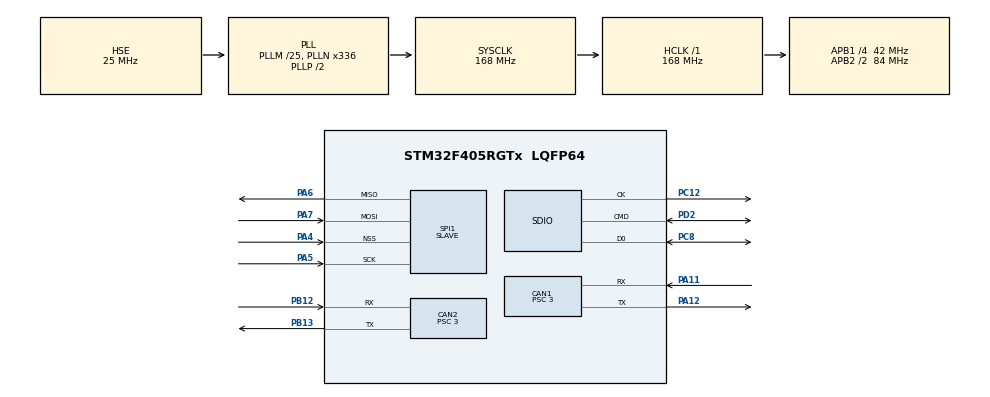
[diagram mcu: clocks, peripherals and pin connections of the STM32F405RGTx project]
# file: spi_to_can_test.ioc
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CAN1.AWUM=DISABLE
CAN1.BS1=CAN_BS1_10TQ
CAN1.BS2=CAN_BS2_3TQ
CAN1.CalculateBaudRate=1000000
CAN1.CalculateTimeBit=1000
CAN1.CalculateTimeQuantum=71.42857142857143
CAN1.NART=DISABLE
CAN1.Prescaler=3
CAN2.AWUM=DISABLE
CAN2.BS1=CAN_BS1_10TQ
CAN2.BS2=CAN_BS2_3TQ
CAN2.CalculateBaudRate=1000000
CAN2.CalculateTimeBit=1000
CAN2.CalculateTimeQuantum=71.42857142857143
CAN2.NART=DISABLE
CAN2.Prescaler=3
Dma.Request0=SPI1_RX
Dma.SPI1_RX.0.Direction=DMA_PERIPH_TO_MEMORY
Dma.SPI1_RX.0.FIFOMode=DMA_FIFOMODE_DISABLE
Dma.SPI1_RX.0.Instance=DMA2_Stream0
Dma.SPI1_RX.0.MemDataAlignment=DMA_MDATAALIGN_BYTE
Dma.SPI1_RX.0.MemInc=DMA_MINC_ENABLE
Dma.SPI1_RX.0.Mode=DMA_NORMAL
Dma.SPI1_RX.0.PeriphDataAlignment=DMA_PDATAALIGN_BYTE
Dma.SPI1_RX.0.PeriphInc=DMA_PINC_DISABLE
Dma.SPI1_RX.0.Priority=DMA_PRIORITY_LOW
Mcu.Family=STM32F4
Mcu.Name=STM32F405RGTx
Mcu.Package=LQFP64
NVIC.CAN1_RX0_IRQn=true\:0\:0\:false\:false\:true\:true\:true\:true
NVIC.CAN1_RX1_IRQn=true\:0\:0\:false\:false\:true\:true\:true\:true
NVIC.CAN2_RX0_IRQn=true\:0\:0\:false\:false\:true\:true\:true\:true
NVIC.CAN2_RX1_IRQn=true\:0\:0\:false\:false\:true\:true\:true\:true
NVIC.DMA2_Stream0_IRQn=true\:0\:0\:false\:false\:true\:false\:true\:true
NVIC.PriorityGroup=NVIC_PRIORITYGROUP_4
NVIC.SPI1_IRQn=true\:0\:0\:false\:false\:true\:true\:true\:true
PA11.Mode=CAN_Activate
PA11.Signal=CAN1_RX
PA12.Mode=CAN_Activate
PA12.Signal=CAN1_TX
PA4.Mode=NSS_Signal_Hard_Input
PA4.Signal=SPI1_NSS
PA5.Mode=Full_Duplex_Slave
PA5.Signal=SPI1_SCK
PA6.Mode=Full_Duplex_Slave
PA6.Signal=SPI1_MISO
PA7.Mode=Full_Duplex_Slave
PA7.Signal=SPI1_MOSI
PB12.Mode=CAN_Activate
PB12.Signal=CAN2_RX
PB13.Mode=CAN_Activate
PB13.Signal=CAN2_TX
PC12.Mode=SD_1_bit
PC12.Signal=SDIO_CK
PC8.Mode=SD_1_bit
PC8.Signal=SDIO_D0
PD2.Mode=SD_1_bit
PD2.Signal=SDIO_CMD
PH0-OSC_IN.Mode=HSE-External-Oscillator
PH0-OSC_IN.Signal=RCC_OSC_IN
PH1-OSC_OUT.Mode=HSE-External-Oscillator
PH1-OSC_OUT.Signal=RCC_OSC_OUT
ProjectManager.HeapSize=0x200
ProjectManager.StackSize=0x400
ProjectManager.TargetToolchain=EWARM V8.32
RCC.48MHZClocksFreq_Value=48000000
RCC.AHBFreq_Value=168000000
RCC.APB1CLKDivider=RCC_HCLK_DIV4
RCC.APB1Freq_Value=42000000
RCC.APB1TimFreq_Value=84000000
RCC.APB2CLKDivider=RCC_HCLK_DIV2
RCC.APB2Freq_Value=84000000
RCC.APB2TimFreq_Value=168000000
RCC.CortexFreq_Value=168000000
RCC.HCLKFreq_Value=168000000
RCC.HSE_VALUE=25000000
RCC.HSI_VALUE=16000000
RCC.LSE_VALUE=32768
RCC.PLLM=25
RCC.PLLN=336
RCC.PLLQ=7
RCC.PLLSourceVirtual=RCC_PLLSOURCE_HSE
RCC.SYSCLKFreq_VALUE=168000000
RCC.SYSCLKSource=RCC_SYSCLKSOURCE_PLLCLK
RCC.VCOOutputFreq_Value=336000000
SPI1.Direction=SPI_DIRECTION_2LINES
SPI1.Mode=SPI_MODE_SLAVE
SPI1.VirtualNSS=VM_NSSHARD
SPI1.VirtualType=VM_SLAVE
TIM2.AutoReloadPreload=TIM_AUTORELOAD_PRELOAD_ENABLE
TIM2.Channel-Output\ Compare1\ No\ Output=TIM_CHANNEL_1
TIM2.Period=249
TIM2.Prescaler=89
VP_FATFS_VS_Generic.Mode=User_defined
VP_FATFS_VS_SDIO.Mode=SDIO
VP_TIM2_VS_no_output1.Mode=Output Compare1 No Output
board=custom

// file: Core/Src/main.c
/* USER CODE BEGIN Header */
/**
  ******************************************************************************
  * @file           : main.c
  * @brief          : Main program body
  ******************************************************************************
  * @attention
  *
  * Copyright (c) 2025 STMicroelectronics.
  * All rights reserved.
  *
  * This software is licensed under terms that can be found in the LICENSE file
  * in the root directory of this software component.
  * If no LICENSE file comes with this software, it is provided AS-IS.
  *
  ******************************************************************************
  */
/* USER CODE END Header */
#include "main.h"
#include "can.h"
#include "dma.h"
#include "fatfs.h"
#include "sdio.h"
#include "spi.h"
#include "tim.h"
#include "gpio.h"

/* USER CODE BEGIN Includes */

#include "DeepJ60_Motor.h"
#include "leg_control.h"

/* USER CODE END Includes */

/* USER CODE BEGIN PTD */

#define SPI_BUFFER_SIZE 15
#define CAN_BUFFER_SIZE 15

CAN_TxHeaderTypeDef TxHeader;
int test = 0;
typedef struct {
    uint32_t current_angle;
    uint32_t current_angular_velocity;
    uint16_t current_torque;
    uint8_t temperature_flag;
    uint8_t current_temperature;
} J60_MotorReturnInfo;
J60_MotorReturnInfo motor1_info;
J60_MotorReturnInfo motor2_info;
J60_MotorReturnInfo motor3_info;
J60_MotorReturnInfo motor4_info;

/* USER CODE END PTD */

/* USER CODE BEGIN PV */

uint8_t MoveEnable = 0;
uint8_t spi_rx_flag = 0;

float total_time = 1000;
float angle[4][2];
float pos[4][2];
float t = 0;
float last_t = 0;
float speed = 0.01;

float x[2] = {0};
float y[2] = {0};

/* USER CODE END PV */

void SystemClock_Config(void);
/* USER CODE BEGIN PFP */
motor_data spi_motor_data;
/* USER CODE END PFP */

int main(void)
{

  /* USER CODE BEGIN 1 */

  float Kp = 0;
  float Kd = 0;
  enum MotorMode motor_mode;

  /* USER CODE END 1 */

  /* MCU Configuration--------------------------------------------------------*/

  /* Reset of all peripherals, Initializes the Flash interface and the Systick. */
  HAL_Init();

  /* Configure the system clock */
  SystemClock_Config();

  /* Initialize all configured peripherals */
  MX_GPIO_Init();
  MX_DMA_Init();
  MX_CAN1_Init();
  MX_CAN2_Init();
  MX_SPI1_Init();
  MX_SDIO_SD_Init();
  MX_TIM2_Init();
  MX_FATFS_Init();
  /* USER CODE BEGIN 2 */

  HAL_Delay(4000);

  EnableJ60Motor(&J60Motor_CAN1[2], 3, 1);  // rf out
  EnableJ60Motor(&J60Motor_CAN1[3], 4, 1);  // rf in
  EnableJ60Motor(&J60Motor_CAN2[2], 3, 2);  // lb out
  EnableJ60Motor(&J60Motor_CAN2[3], 4, 2);  // lb in

  HAL_Delay(1);
  RunJ60Motor(&J60Motor_CAN1[2], J60Motor_StandUpData_CAN1[2], 0, 0, 20, 4, PositionMode);
  HAL_Delay(1);
  RunJ60Motor(&J60Motor_CAN1[3], J60Motor_StandUpData_CAN1[3], 0, 0, 20, 4, PositionMode);
  HAL_Delay(1);
  RunJ60Motor(&J60Motor_CAN2[2], J60Motor_StandUpData_CAN2[2], 0, 0, 20, 4, PositionMode);
  HAL_Delay(1);
  RunJ60Motor(&J60Motor_CAN2[3], J60Motor_StandUpData_CAN2[3], 0, 0, 20, 4, PositionMode);

//  HAL_Delay(1);
//  RunJ60Motor(&J60Motor_CAN1[2], 0, 0, 0, 0, 0, ZeroTorqueMode);
//  HAL_Delay(1);
//  RunJ60Motor(&J60Motor_CAN1[3], 0, 0, 0, 0, 0, ZeroTorqueMode);
//  HAL_Delay(1);
//  RunJ60Motor(&J60Motor_CAN2[2], 0, 0, 0, 0, 0, ZeroTorqueMode);
//  HAL_Delay(1);
//  RunJ60Motor(&J60Motor_CAN2[3], 0, 0, 0, 0, 0, ZeroTorqueMode);

  HAL_Delay(2000);

  /* USER CODE END 2 */

  /* Infinite loop */
  /* USER CODE BEGIN WHILE */
  while (1)
  {
//	  HAL_Delay(1);
//  RunJ60Motor(&J60Motor_CAN1[2], 0, 0, 0, 0, 0, ZeroTorqueMode);
//  HAL_Delay(1);
//  RunJ60Motor(&J60Motor_CAN1[3], 0, 0, 0, 0, 0, ZeroTorqueMode);
//  HAL_Delay(1);
//  RunJ60Motor(&J60Motor_CAN2[2], 0, 0, 0, 0, 0, ZeroTorqueMode);
//  HAL_Delay(1);
//  RunJ60Motor(&J60Motor_CAN2[3], 0, 0, 0, 0, 0, ZeroTorqueMode);

    if(spi_rx_flag == NORMAL_COMMAND){
      Kp = spi_motor_data.real_motor_data[12];
      Kd = spi_motor_data.real_motor_data[13];
      motor_mode = (enum MotorMode)((int)spi_motor_data.real_motor_data[14]);

      if (motor_mode == PositionMode || motor_mode == PositionTorqueMode) {
        RunJ60Motor(&J60Motor_CAN1[2],
                    J60Motor_StandUpData_CAN1[2] + spi_motor_data.real_motor_data[1],
                    spi_motor_data.real_motor_data[5],
                    spi_motor_data.real_motor_data[9],
                    Kp,
                    Kd,
                    motor_mode);
        HAL_Delay(1);
        RunJ60Motor(&J60Motor_CAN1[3],
                    J60Motor_StandUpData_CAN1[3] - spi_motor_data.real_motor_data[0],
                    spi_motor_data.real_motor_data[4],
                    spi_motor_data.real_motor_data[8],
                    Kp,
                    Kd,
                    motor_mode);
        HAL_Delay(1);
        RunJ60Motor(&J60Motor_CAN2[2],
                    J60Motor_StandUpData_CAN2[2] - spi_motor_data.real_motor_data[3],
                    spi_motor_data.real_motor_data[7],
                    spi_motor_data.real_motor_data[11],
                    Kp,
                    Kd,
                    motor_mode);
        HAL_Delay(1);
        RunJ60Motor(&J60Motor_CAN2[3],
                    J60Motor_StandUpData_CAN2[3] + spi_motor_data.real_motor_data[2],
                    spi_motor_data.real_motor_data[6],
                    spi_motor_data.real_motor_data[10],
                    Kp,
                    Kd,
                    motor_mode);
      }
      else {
        RunJ60Motor(&J60Motor_CAN1[2],
                    0,
                    spi_motor_data.real_motor_data[5],
                    spi_motor_data.real_motor_data[9],
                    Kp,
                    Kd,
                    motor_mode);
        HAL_Delay(1);
        RunJ60Motor(&J60Motor_CAN1[3],
                    0,
                    spi_motor_data.real_motor_data[4],
                    spi_motor_data.real_motor_data[8],
                    Kp,
                    Kd,
                    motor_mode);
        HAL_Delay(1);
        RunJ60Motor(&J60Motor_CAN2[2],
                    0,
                    spi_motor_data.real_motor_data[7],
                    spi_motor_data.real_motor_data[11],
                    Kp,
                    Kd,
                    motor_mode);
        HAL_Delay(1);
        RunJ60Motor(&J60Motor_CAN2[3],
                    0,
                    spi_motor_data.real_motor_data[6],
                    spi_motor_data.real_motor_data[10],
                    Kp,
                    Kd,
                    motor_mode);
      }

      spi_rx_flag = NO_COMMAND;
    }
    /* USER CODE END WHILE */

  }
}

void SystemClock_Config(void)
{
  RCC_OscInitTypeDef RCC_OscInitStruct = {0};
  RCC_ClkInitTypeDef RCC_ClkInitStruct = {0};

  /** Configure the main internal regulator output voltage
  */
  __HAL_RCC_PWR_CLK_ENABLE();
  __HAL_PWR_VOLTAGESCALING_CONFIG(PWR_REGULATOR_VOLTAGE_SCALE1);

  /** Initializes the RCC Oscillators according to the specified parameters
  * in the RCC_OscInitTypeDef structure.
  */
  RCC_OscInitStruct.OscillatorType = RCC_OSCILLATORTYPE_HSE;
  RCC_OscInitStruct.HSEState = RCC_HSE_ON;
  RCC_OscInitStruct.PLL.PLLState = RCC_PLL_ON;
  RCC_OscInitStruct.PLL.PLLSource = RCC_PLLSOURCE_HSE;
  RCC_OscInitStruct.PLL.PLLM = 25;
  RCC_OscInitStruct.PLL.PLLN = 336;
  RCC_OscInitStruct.PLL.PLLP = RCC_PLLP_DIV2;
  RCC_OscInitStruct.PLL.PLLQ = 7;
  if (HAL_RCC_OscConfig(&RCC_OscInitStruct) != HAL_OK)
  {
    Error_Handler();
  }

  /** Initializes the CPU, AHB and APB buses clocks
  */
  RCC_ClkInitStruct.ClockType = RCC_CLOCKTYPE_HCLK|RCC_CLOCKTYPE_SYSCLK
                              |RCC_CLOCKTYPE_PCLK1|RCC_CLOCKTYPE_PCLK2;
  RCC_ClkInitStruct.SYSCLKSource = RCC_SYSCLKSOURCE_PLLCLK;
  RCC_ClkInitStruct.AHBCLKDivider = RCC_SYSCLK_DIV1;
  RCC_ClkInitStruct.APB1CLKDivider = RCC_HCLK_DIV4;
  RCC_ClkInitStruct.APB2CLKDivider = RCC_HCLK_DIV2;

  if (HAL_RCC_ClockConfig(&RCC_ClkInitStruct, FLASH_LATENCY_5) != HAL_OK)
  {
    Error_Handler();
  }
}

/* USER CODE BEGIN 4 */

//void HAL_SPI_RxCpltCallback(SPI_HandleTypeDef *hspi)
//{
//    if (hspi == &hspi1)
//    {
//        // transfer_spi_to_can();
//        if (HAL_SPI_Receive_IT(&hspi1, spi_motor_data.rx_data, 60) != HAL_OK)
//        {
//            Error_Handler();
//        }
//    }
//}

//void HAL_CAN_RxFifo0MsgPendingCallback(CAN_HandleTypeDef *hcan)
//{
//    CAN_RxHeaderTypeDef RxHeader;
//    uint8_t RxData[8];
//
//    if (HAL_CAN_GetRxMessage(hcan, CAN_RX_FIFO0, &RxHeader, RxData) == HAL_OK)
//    {
//        switch (RxHeader.StdId)
//        {
//        case MOTOR1_CAN_ID:
//            // 处理电机 1 返回的数�?
//            for (int i = 0; i < RxHeader.DLC; i++)
//            {
//              motor1_info.current_angle = ((uint32_t)RxData[0] << 12) | ((uint32_t)RxData[1] << 4) | ((RxData[2] & 0xF0) >> 4);                 //解析当前角度
//              motor1_info.current_angular_velocity = (((uint32_t)(RxData[2] & 0x0F) << 16) | ((uint32_t)RxData[3] << 8) | RxData[4]);                 // 解析当前角�?�度
//              motor1_info.current_torque = ((uint16_t)(RxData[5] << 8) | RxData[6]);            // 解析当前扭矩
//              motor1_info.temperature_flag = (RxData[7] & 0x80) >> 7;            // 解析温度标志�?
//              motor1_info.current_temperature = RxData[7] & 0x7F;            // 解析当前温度
//            }
//            break;
//        case MOTOR2_CAN_ID:
//            // 处理电机 2 返回的数�?
//            for (int i = 0; i < RxHeader.DLC; i++)
//            {
//              motor2_info.current_angle = ((uint32_t)RxData[0] << 12) | ((uint32_t)RxData[1] << 4) | ((RxData[2] & 0xF0) >> 4);                 //解析当前角度
//              motor2_info.current_angular_velocity = (((uint32_t)(RxData[2] & 0x0F) << 16) | ((uint32_t)RxData[3] << 8) | RxData[4]);                 // 解析当前角�?�度
//              motor2_info.current_torque = ((uint16_t)(RxData[5] << 8) | RxData[6]);            // 解析当前扭矩
//              motor2_info.temperature_flag = (RxData[7] & 0x80) >> 7;            // 解析温度标志�?
//              motor2_info.current_temperature = RxData[7] & 0x7F;            // 解析当前温度
//            }
//            break;
//        case MOTOR3_CAN_ID:
//            // 处理电机 3 返回的数�?
//            for (int i = 0; i < RxHeader.DLC; i++)
//            {
//              motor3_info.current_angle = ((uint32_t)RxData[0] << 12) | ((uint32_t)RxData[1] << 4) | ((RxData[2] & 0xF0) >> 4);                 //解析当前角度
//              motor3_info.current_angular_velocity = (((uint32_t)(RxData[2] & 0x0F) << 16) | ((uint32_t)RxData[3] << 8) | RxData[4]);                 // 解析当前角�?�度
//              motor3_info.current_torque = ((uint16_t)(RxData[5] << 8) | RxData[6]);            // 解析当前扭矩
//              motor3_info.temperature_flag = (RxData[7] & 0x80) >> 7;            // 解析温度标志�?
//              motor3_info.current_temperature = RxData[7] & 0x7F;            // 解析当前温度
//            }
//            break;
//        case MOTOR4_CAN_ID:
//            // 处理电机 4 返回的数�?
//            for (int i = 0; i < RxHeader.DLC; i++)
//            {
//              motor4_info.current_angle = ((uint32_t)RxData[0] << 12) | ((uint32_t)RxData[1] << 4) | ((RxData[2] & 0xF0) >> 4);                 //解析当前角度
//              motor4_info.current_angular_velocity = (((uint32_t)(RxData[2] & 0x0F) << 16) | ((uint32_t)RxData[3] << 8) | RxData[4]);                 // 解析当前角�?�度
//              motor4_info.current_torque = ((uint16_t)(RxData[5] << 8) | RxData[6]);            // 解析当前扭矩
//              motor4_info.temperature_flag = (RxData[7] & 0x80) >> 7;            // 解析温度标志�?
//              motor4_info.current_temperature = RxData[7] & 0x7F;            // 解析当前温度
//            }
//            break;
//        default:
//            break;
//        }
//    }
//}

/* USER CODE END 4 */

void Error_Handler(void)
{
  __disable_irq();
  while (1)
  {
  }
}
